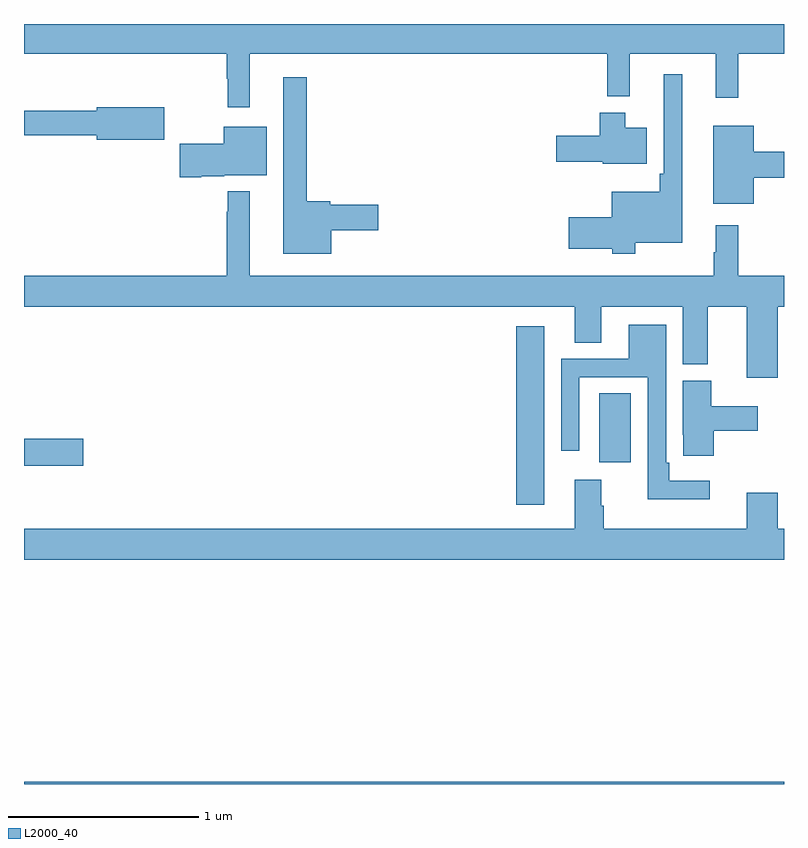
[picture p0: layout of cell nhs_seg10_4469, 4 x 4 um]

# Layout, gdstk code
import gdstk
lib = gdstk.Library(unit=1e-6, precision=1e-09)
def R(c, l, rs):  # rectangles x0, y0, x1, y1
    for r in rs: c.add(gdstk.rectangle(r[:2], r[2:], *l))
def P(c, l, *ps):  # polygons
    for p in ps: c.add(gdstk.Polygon(p, *l))
L2000_40 = (2000, 40)

nhs_seg10_4469 = lib.new_cell('nhs_seg10_4469')
R(nhs_seg10_4469, L2000_40, [(365,1268.5,369,1268.512), (367.592,1269.969,367.738,1270.909), (365,1270.174,365.311,1270.316), (368.027,1270.194,368.194,1270.556)])
P(nhs_seg10_4469, L2000_40, [(366.187,1272.344),(368.071,1272.344),(368.071,1272.119),(368.189,1272.119),(368.189,1272.344),(368.642,1272.344),(368.642,1272.111),(368.759,1272.111),(368.759,1272.344),(369,1272.344),(369,1272.5),(365,1272.5),(365,1272.344),(366.066,1272.344),(366.066,1272.212),(366.073,1272.212),(366.073,1272.063),(366.187,1272.063)],
  [(368.218,1271.348),(368.464,1271.348),(368.464,1272.235),(368.367,1272.235),(368.367,1271.713),(368.347,1271.713),(368.347,1271.617),(368.093,1271.617),(368.093,1271.484),(367.866,1271.484),(367.866,1271.318),(368.097,1271.318),(368.097,1271.291),(368.218,1271.291)],
  [(366.616,1271.414),(366.865,1271.414),(366.865,1271.549),(366.612,1271.549),(366.612,1271.567),(366.487,1271.567),(366.487,1272.22),(366.365,1272.22),(366.365,1271.291),(366.616,1271.291)],
  [(365.737,1272.061),(365.384,1272.061),(365.384,1272.043),(365,1272.043),(365,1271.914),(365.384,1271.914),(365.384,1271.891),(365.737,1271.891)],
  [(368.278,1271.953),(368.164,1271.953),(368.164,1272.034),(368.03,1272.034),(368.03,1271.913),(367.8,1271.913),(367.8,1271.776),(368.046,1271.776),(368.046,1271.765),(368.278,1271.765)],
  [(368.842,1271.692),(369,1271.692),(369,1271.828),(368.842,1271.828),(368.842,1271.965),(368.627,1271.965),(368.627,1271.555),(368.842,1271.555)],
  [(365.932,1271.699),(366.054,1271.699),(366.054,1271.705),(366.277,1271.705),(366.277,1271.959),(366.05,1271.959),(366.05,1271.871),(365.82,1271.871),(365.82,1271.693),(365.932,1271.693)],
  [(368.968,1271.012),(369,1271.012),(369,1271.176),(368.759,1271.176),(368.759,1271.44),(368.642,1271.44),(368.642,1271.3),(368.631,1271.3),(368.631,1271.176),(366.187,1271.176),(366.187,1271.62),(366.073,1271.62),(366.073,1271.513),(366.066,1271.513),(366.066,1271.176),(365,1271.176),(365,1271.012),(367.898,1271.012),(367.898,1270.822),(368.038,1270.822),(368.038,1271.012),(368.468,1271.012),(368.468,1270.708),(368.599,1270.708),(368.599,1271.012),(368.804,1271.012),(368.804,1270.638),(368.968,1270.638)],
  [(368.608,1270.096),(368.395,1270.096),(368.395,1270.192),(368.379,1270.192),(368.379,1270.918),(368.183,1270.918),(368.183,1270.737),(367.827,1270.737),(367.827,1270.254),(367.923,1270.254),(367.923,1270.641),(368.283,1270.641),(368.283,1269.998),(368.608,1269.998)],
  [(368.63,1270.36),(368.863,1270.36),(368.863,1270.489),(368.617,1270.489),(368.617,1270.623),(368.468,1270.623),(368.468,1270.339),(368.469,1270.339),(368.469,1270.227),(368.63,1270.227)],
  [(369,1269.844),(368.968,1269.844),(368.968,1270.033),(368.804,1270.033),(368.804,1269.844),(368.051,1269.844),(368.051,1269.965),(368.038,1269.965),(368.038,1270.102),(367.898,1270.102),(367.898,1269.844),(365,1269.844),(365,1269.68),(369,1269.68)])

lib.write_gds('nhs_seg10_4469.gds')
